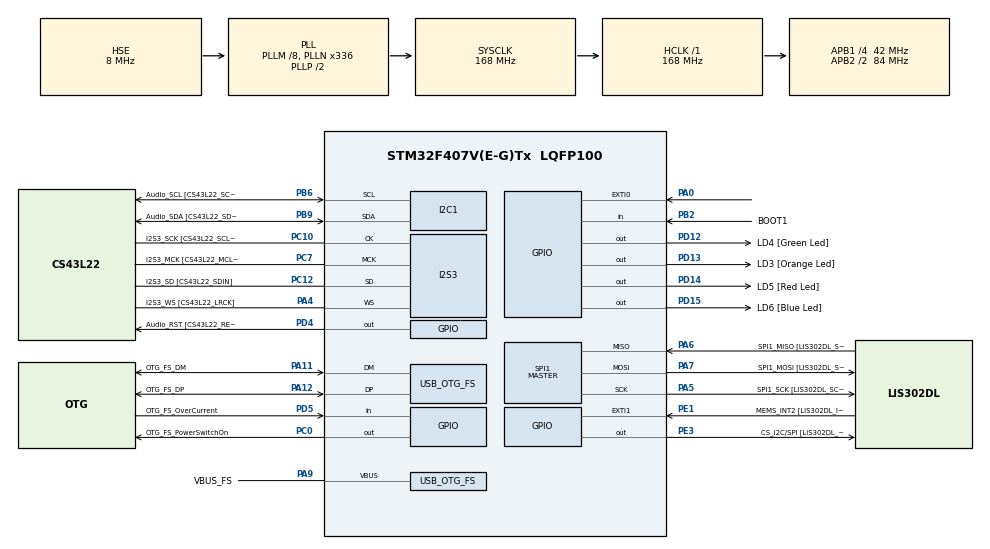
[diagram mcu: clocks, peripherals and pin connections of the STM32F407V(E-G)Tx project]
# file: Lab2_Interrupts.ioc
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I2S3.AudioFreq-Half_Duplex_Master=I2S_AUDIOFREQ_96K
I2S3.ErrorAudioFreq=-2.34 %
I2S3.ErrorAudioFreq-Half_Duplex_Master=0.8 %
I2S3.FullDuplexMode=I2S_FULLDUPLEXMODE_DISABLE
I2S3.Instance=SPI$Index
I2S3.RealAudioFreq=93.75 KHz
I2S3.RealAudioFreq-Half_Duplex_Master=96.774 KHz
I2S3.VirtualMode=I2S_MODE_MASTER
Mcu.Family=STM32F4
Mcu.Name=STM32F407V(E-G)Tx
Mcu.Package=LQFP100
NVIC.EXTI0_IRQn=true\:0\:0\:false\:false\:true\:true\:true\:true
NVIC.OTG_FS_IRQn=true\:0\:0\:false\:false\:true\:true\:true\:true
NVIC.PriorityGroup=NVIC_PRIORITYGROUP_0
PA0-WKUP.Signal=GPXTI0
PA10.GPIO_Label=OTG_FS_ID
PA10.GPIO_Mode=GPIO_MODE_AF_PP
PA10.GPIO_PuPd=GPIO_NOPULL
PA10.GPIO_Speed=GPIO_SPEED_FREQ_LOW
PA10.Signal=USB_OTG_FS_ID
PA11.GPIO_Label=OTG_FS_DM
PA11.GPIO_Mode=GPIO_MODE_AF_PP
PA11.GPIO_PuPd=GPIO_NOPULL
PA11.GPIO_Speed=GPIO_SPEED_FREQ_LOW
PA11.Mode=Host_Only
PA11.Signal=USB_OTG_FS_DM
PA12.GPIO_Label=OTG_FS_DP
PA12.GPIO_Mode=GPIO_MODE_AF_PP
PA12.GPIO_PuPd=GPIO_NOPULL
PA12.GPIO_Speed=GPIO_SPEED_FREQ_LOW
PA12.Mode=Host_Only
PA12.Signal=USB_OTG_FS_DP
PA13.GPIO_Label=SWDIO
PA13.Mode=Serial_Wire
PA13.Signal=SYS_JTMS-SWDIO
PA14.GPIO_Label=SWCLK
PA14.Mode=Serial_Wire
PA14.Signal=SYS_JTCK-SWCLK
PA4.GPIO_Label=I2S3_WS [CS43L22_LRCK]
PA4.GPIO_Mode=GPIO_MODE_AF_PP
PA4.GPIO_PuPd=GPIO_NOPULL
PA4.GPIO_Speed=GPIO_SPEED_FREQ_LOW
PA4.Mode=Half_Duplex_Master
PA4.Signal=I2S3_WS
PA5.GPIO_Label=SPI1_SCK [LIS302DL_SCL/SPC]
PA5.GPIO_Mode=GPIO_MODE_AF_PP
PA5.GPIO_PuPd=GPIO_NOPULL
PA5.GPIO_Speed=GPIO_SPEED_FREQ_LOW
PA5.Mode=Full_Duplex_Master
PA5.Signal=SPI1_SCK
PA6.GPIO_Label=SPI1_MISO [LIS302DL_SDO]
PA6.GPIO_Mode=GPIO_MODE_AF_PP
PA6.GPIO_PuPd=GPIO_NOPULL
PA6.GPIO_Speed=GPIO_SPEED_FREQ_LOW
PA6.Mode=Full_Duplex_Master
PA6.Signal=SPI1_MISO
PA7.GPIO_Label=SPI1_MOSI [LIS302DL_SDA/SDI/SDO]
PA7.GPIO_Mode=GPIO_MODE_AF_PP
PA7.GPIO_PuPd=GPIO_NOPULL
PA7.GPIO_Speed=GPIO_SPEED_FREQ_LOW
PA7.Mode=Full_Duplex_Master
PA7.Signal=SPI1_MOSI
PA9.GPIO_Label=VBUS_FS
PA9.GPIO_Mode=GPIO_MODE_INPUT
PA9.GPIO_PuPd=GPIO_NOPULL
PA9.Mode=Activate_VBUS
PA9.Signal=USB_OTG_FS_VBUS
PB10.GPIO_Label=CLK_IN [MP45DT02_CLK]
PB10.GPIO_Mode=GPIO_MODE_AF_PP
PB10.GPIO_PuPd=GPIO_NOPULL
PB10.GPIO_Speed=GPIO_SPEED_FREQ_LOW
PB10.Signal=I2S2_CK
PB2.GPIO_Label=BOOT1
PB2.GPIO_Mode=GPIO_MODE_INPUT
PB2.GPIO_PuPd=GPIO_NOPULL
PB2.Signal=GPIO_Input
PB3.GPIO_Label=SWO
PB3.Signal=SYS_JTDO-SWO
PB6.GPIO_Label=Audio_SCL [CS43L22_SCL]
PB6.GPIO_Mode=GPIO_MODE_AF_OD
PB6.GPIO_Pu=GPIO_PULLUP
PB6.GPIO_PuPd=GPIO_NOPULL
PB6.GPIO_Speed=GPIO_SPEED_FREQ_LOW
PB6.Mode=I2C
PB6.Signal=I2C1_SCL
PB9.GPIO_Label=Audio_SDA [CS43L22_SDA]
PB9.GPIO_Mode=GPIO_MODE_AF_OD
PB9.GPIO_Pu=GPIO_PULLUP
PB9.GPIO_PuPd=GPIO_NOPULL
PB9.GPIO_Speed=GPIO_SPEED_FREQ_LOW
PB9.Mode=I2C
PB9.Signal=I2C1_SDA
PC0.GPIO_Label=OTG_FS_PowerSwitchOn
PC0.GPIO_PuPd=GPIO_NOPULL
PC0.GPIO_Speed=GPIO_SPEED_FREQ_LOW
PC0.PinState=GPIO_PIN_SET
PC0.Signal=GPIO_Output
PC10.GPIO_Label=I2S3_SCK [CS43L22_SCLK]
PC10.GPIO_Mode=GPIO_MODE_AF_PP
PC10.GPIO_PuPd=GPIO_NOPULL
PC10.GPIO_Speed=GPIO_SPEED_FREQ_LOW
PC10.Mode=Half_Duplex_Master
PC10.Signal=I2S3_CK
PC12.GPIO_Label=I2S3_SD [CS43L22_SDIN]
PC12.GPIO_Mode=GPIO_MODE_AF_PP
PC12.GPIO_PuPd=GPIO_NOPULL
PC12.GPIO_Speed=GPIO_SPEED_FREQ_LOW
PC12.Mode=Half_Duplex_Master
PC12.Signal=I2S3_SD
PC14-OSC32_IN.GPIO_Label=PC14-OSC32_IN
PC14-OSC32_IN.Mode=LSE-External-Oscillator
PC14-OSC32_IN.Signal=RCC_OSC32_IN
PC15-OSC32_OUT.GPIO_Label=PC15-OSC32_OUT
PC15-OSC32_OUT.Mode=LSE-External-Oscillator
PC15-OSC32_OUT.Signal=RCC_OSC32_OUT
PC3.GPIO_Label=PDM_OUT [MP45DT02_DOUT]
PC3.GPIO_Mode=GPIO_MODE_AF_PP
PC3.GPIO_PuPd=GPIO_NOPULL
PC3.GPIO_Speed=GPIO_SPEED_FREQ_LOW
PC3.Signal=I2S2_SD
PC7.GPIO_Label=I2S3_MCK [CS43L22_MCLK]
PC7.GPIO_Mode=GPIO_MODE_AF_PP
PC7.GPIO_PuPd=GPIO_NOPULL
PC7.GPIO_Speed=GPIO_SPEED_FREQ_LOW
PC7.Mode=Master_Clock_Activated
PC7.Signal=I2S3_MCK
PD12.GPIO_Label=LD4 [Green Led]
PD12.GPIO_PuPd=GPIO_NOPULL
PD12.GPIO_Speed=GPIO_SPEED_FREQ_LOW
PD12.Signal=GPIO_Output
PD13.GPIO_Label=LD3 [Orange Led]
PD13.GPIO_PuPd=GPIO_NOPULL
PD13.GPIO_Speed=GPIO_SPEED_FREQ_LOW
PD13.Signal=GPIO_Output
PD14.GPIO_Label=LD5 [Red Led]
PD14.GPIO_PuPd=GPIO_NOPULL
PD14.GPIO_Speed=GPIO_SPEED_FREQ_LOW
PD14.Signal=GPIO_Output
PD15.GPIO_Label=LD6 [Blue Led]
PD15.GPIO_PuPd=GPIO_NOPULL
PD15.GPIO_Speed=GPIO_SPEED_FREQ_LOW
PD15.Signal=GPIO_Output
PD4.GPIO_Label=Audio_RST [CS43L22_RESET]
PD4.GPIO_PuPd=GPIO_NOPULL
PD4.GPIO_Speed=GPIO_SPEED_FREQ_LOW
PD4.Signal=GPIO_Output
PD5.GPIO_Label=OTG_FS_OverCurrent
PD5.GPIO_Mode=GPIO_MODE_INPUT
PD5.GPIO_PuPd=GPIO_NOPULL
PD5.Signal=GPIO_Input
PE1.GPIO_Label=MEMS_INT2 [LIS302DL_INT2]
PE1.GPIO_ModeDefaultEXTI=GPIO_MODE_EVT_RISING
PE1.GPIO_PuPd=GPIO_NOPULL
PE1.Signal=GPXTI1
PE3.GPIO_Label=CS_I2C/SPI [LIS302DL_CS_I2C/SPI]
PE3.GPIO_PuPd=GPIO_NOPULL
PE3.GPIO_Speed=GPIO_SPEED_FREQ_LOW
PE3.Signal=GPIO_Output
PH0-OSC_IN.GPIO_Label=PH0-OSC_IN
PH0-OSC_IN.Mode=HSE-External-Oscillator
PH0-OSC_IN.Signal=RCC_OSC_IN
PH1-OSC_OUT.GPIO_Label=PH1-OSC_OUT
PH1-OSC_OUT.Mode=HSE-External-Oscillator
PH1-OSC_OUT.Signal=RCC_OSC_OUT
ProjectManager.HeapSize=0x200
ProjectManager.StackSize=0x400
ProjectManager.TargetToolchain=STM32CubeIDE
RCC.48MHZClocksFreq_Value=48000000
RCC.AHBFreq_Value=168000000
RCC.APB1CLKDivider=RCC_HCLK_DIV4
RCC.APB1Freq_Value=42000000
RCC.APB1TimFreq_Value=84000000
RCC.APB2CLKDivider=RCC_HCLK_DIV2
RCC.APB2Freq_Value=84000000
RCC.APB2TimFreq_Value=168000000
RCC.CortexFreq_Value=168000000
RCC.HCLKFreq_Value=168000000
RCC.HSE_VALUE=8000000
RCC.HSI_VALUE=16000000
RCC.PLLM=8
RCC.PLLN=336
RCC.PLLQ=7
RCC.SYSCLKFreq_VALUE=168000000
RCC.SYSCLKSource=RCC_SYSCLKSOURCE_PLLCLK
RCC.VCOOutputFreq_Value=336000000
SPI1.BaudRatePrescaler-Full_Duplex_Master=SPI_BAUDRATEPRESCALER_2
SPI1.CalculateBaudRate-Full_Duplex_Master=42.0 MBits/s
SPI1.Direction=SPI_DIRECTION_2LINES
SPI1.Mode=SPI_MODE_MASTER
SPI1.Mode-Full_Duplex_Master=SPI_MODE_MASTER
SPI1.VirtualType=VM_MASTER
USB_HOST.BSP.number=1
USB_HOST.USBH_HandleTypeDef-CDC_FS=hUsbHostFS
USB_HOST.VirtualModeFS=Cdc
USB_HOST0.BSP.STBoard=false
USB_HOST0.BSP.api=Unknown
USB_HOST0.BSP.instance=PC0
USB_HOST0.BSP.ip=GPIO
USB_HOST0.BSP.mode=Output
USB_HOST0.BSP.name=Drive_VBUS_FS
USB_HOST0.BSP.solution=PC0
USB_OTG_FS.VirtualMode=Host_Only
USB_OTG_FS.phy_itface=HCD_PHY_EMBEDDED
VP_USB_HOST_VS_USB_HOST_CDC_FS.Mode=CDC_FS
board=STM32F407G-DISC1

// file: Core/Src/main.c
/* USER CODE BEGIN Header */
/**
  ******************************************************************************
  * @file           : main.c
  * @brief          : Main program body
  ******************************************************************************
  * @attention
  *
  * Copyright (c) 2025 STMicroelectronics.
  * All rights reserved.
  *
  * This software is licensed under terms that can be found in the LICENSE file
  * in the root directory of this software component.
  * If no LICENSE file comes with this software, it is provided AS-IS.
  *
  ******************************************************************************
  */
/* USER CODE END Header */
#include "main.h"
#include "usb_host.h"

/* USER CODE BEGIN PD */
#define LED_GREEN GPIO_PIN_12
#define LED_ORANGE GPIO_PIN_13
#define LED_RED GPIO_PIN_14
#define LED_BLUE GPIO_PIN_15

/* USER CODE END PD */

I2C_HandleTypeDef hi2c1;

I2S_HandleTypeDef hi2s3;

SPI_HandleTypeDef hspi1;

void SystemClock_Config(void);
static void MX_GPIO_Init(void);
static void MX_I2C1_Init(void);
static void MX_I2S3_Init(void);
static void MX_SPI1_Init(void);
void MX_USB_HOST_Process(void);

/* USER CODE BEGIN 0 */
uint8_t counter = 0;
/* USER CODE END 0 */

int main(void)
{

  /* MCU Configuration--------------------------------------------------------*/

  /* Reset of all peripherals, Initializes the Flash interface and the Systick. */
  HAL_Init();

  /* Configure the system clock */
  SystemClock_Config();

  /* Initialize all configured peripherals */
  MX_GPIO_Init();
  MX_I2C1_Init();
  MX_I2S3_Init();
  MX_SPI1_Init();
  MX_USB_HOST_Init();

  /* Infinite loop */
  while (1)
  {
    MX_USB_HOST_Process();

    /* USER CODE BEGIN 3 */
    switch(counter){
		case 0:
		{
			Effect_1();
			break;
		}

		case 1:
		{
			Effect_2();
			break;
		}

		case 2:
		{
			Effect_3();
			break;
		}

		case 3:
		{
			Effect_4();
			break;
		}

		default:
			break;

    }

  }
  /* USER CODE END 3 */
}

void SystemClock_Config(void)
{
  RCC_OscInitTypeDef RCC_OscInitStruct = {0};
  RCC_ClkInitTypeDef RCC_ClkInitStruct = {0};

  /** Configure the main internal regulator output voltage
  */
  __HAL_RCC_PWR_CLK_ENABLE();
  __HAL_PWR_VOLTAGESCALING_CONFIG(PWR_REGULATOR_VOLTAGE_SCALE1);

  /** Initializes the RCC Oscillators according to the specified parameters
  * in the RCC_OscInitTypeDef structure.
  */
  RCC_OscInitStruct.OscillatorType = RCC_OSCILLATORTYPE_HSE;
  RCC_OscInitStruct.HSEState = RCC_HSE_ON;
  RCC_OscInitStruct.PLL.PLLState = RCC_PLL_ON;
  RCC_OscInitStruct.PLL.PLLSource = RCC_PLLSOURCE_HSE;
  RCC_OscInitStruct.PLL.PLLM = 8;
  RCC_OscInitStruct.PLL.PLLN = 336;
  RCC_OscInitStruct.PLL.PLLP = RCC_PLLP_DIV2;
  RCC_OscInitStruct.PLL.PLLQ = 7;
  if (HAL_RCC_OscConfig(&RCC_OscInitStruct) != HAL_OK)
  {
    Error_Handler();
  }

  /** Initializes the CPU, AHB and APB buses clocks
  */
  RCC_ClkInitStruct.ClockType = RCC_CLOCKTYPE_HCLK|RCC_CLOCKTYPE_SYSCLK
                              |RCC_CLOCKTYPE_PCLK1|RCC_CLOCKTYPE_PCLK2;
  RCC_ClkInitStruct.SYSCLKSource = RCC_SYSCLKSOURCE_PLLCLK;
  RCC_ClkInitStruct.AHBCLKDivider = RCC_SYSCLK_DIV1;
  RCC_ClkInitStruct.APB1CLKDivider = RCC_HCLK_DIV4;
  RCC_ClkInitStruct.APB2CLKDivider = RCC_HCLK_DIV2;

  if (HAL_RCC_ClockConfig(&RCC_ClkInitStruct, FLASH_LATENCY_5) != HAL_OK)
  {
    Error_Handler();
  }
}

static void MX_I2C1_Init(void)
{

  hi2c1.Instance = I2C1;
  hi2c1.Init.ClockSpeed = 100000;
  hi2c1.Init.DutyCycle = I2C_DUTYCYCLE_2;
  hi2c1.Init.OwnAddress1 = 0;
  hi2c1.Init.AddressingMode = I2C_ADDRESSINGMODE_7BIT;
  hi2c1.Init.DualAddressMode = I2C_DUALADDRESS_DISABLE;
  hi2c1.Init.OwnAddress2 = 0;
  hi2c1.Init.GeneralCallMode = I2C_GENERALCALL_DISABLE;
  hi2c1.Init.NoStretchMode = I2C_NOSTRETCH_DISABLE;
  if (HAL_I2C_Init(&hi2c1) != HAL_OK)
  {
    Error_Handler();
  }

}

static void MX_I2S3_Init(void)
{

  hi2s3.Instance = SPI3;
  hi2s3.Init.Mode = I2S_MODE_MASTER_TX;
  hi2s3.Init.Standard = I2S_STANDARD_PHILIPS;
  hi2s3.Init.DataFormat = I2S_DATAFORMAT_16B;
  hi2s3.Init.MCLKOutput = I2S_MCLKOUTPUT_ENABLE;
  hi2s3.Init.AudioFreq = I2S_AUDIOFREQ_96K;
  hi2s3.Init.CPOL = I2S_CPOL_LOW;
  hi2s3.Init.ClockSource = I2S_CLOCK_PLL;
  hi2s3.Init.FullDuplexMode = I2S_FULLDUPLEXMODE_DISABLE;
  if (HAL_I2S_Init(&hi2s3) != HAL_OK)
  {
    Error_Handler();
  }

}

static void MX_SPI1_Init(void)
{

  /* SPI1 parameter configuration*/
  hspi1.Instance = SPI1;
  hspi1.Init.Mode = SPI_MODE_MASTER;
  hspi1.Init.Direction = SPI_DIRECTION_2LINES;
  hspi1.Init.DataSize = SPI_DATASIZE_8BIT;
  hspi1.Init.CLKPolarity = SPI_POLARITY_LOW;
  hspi1.Init.CLKPhase = SPI_PHASE_1EDGE;
  hspi1.Init.NSS = SPI_NSS_SOFT;
  hspi1.Init.BaudRatePrescaler = SPI_BAUDRATEPRESCALER_2;
  hspi1.Init.FirstBit = SPI_FIRSTBIT_MSB;
  hspi1.Init.TIMode = SPI_TIMODE_DISABLE;
  hspi1.Init.CRCCalculation = SPI_CRCCALCULATION_DISABLE;
  hspi1.Init.CRCPolynomial = 10;
  if (HAL_SPI_Init(&hspi1) != HAL_OK)
  {
    Error_Handler();
  }

}

static void MX_GPIO_Init(void)
{
  GPIO_InitTypeDef GPIO_InitStruct = {0};

  /* GPIO Ports Clock Enable */
  __HAL_RCC_GPIOE_CLK_ENABLE();
  __HAL_RCC_GPIOC_CLK_ENABLE();
  __HAL_RCC_GPIOH_CLK_ENABLE();
  __HAL_RCC_GPIOA_CLK_ENABLE();
  __HAL_RCC_GPIOB_CLK_ENABLE();
  __HAL_RCC_GPIOD_CLK_ENABLE();

  /*Configure GPIO pin Output Level */
  HAL_GPIO_WritePin(CS_I2C_SPI_GPIO_Port, CS_I2C_SPI_Pin, GPIO_PIN_RESET);

  /*Configure GPIO pin Output Level */
  HAL_GPIO_WritePin(OTG_FS_PowerSwitchOn_GPIO_Port, OTG_FS_PowerSwitchOn_Pin, GPIO_PIN_SET);

  /*Configure GPIO pin Output Level */
  HAL_GPIO_WritePin(GPIOD, LD4_Pin|LD3_Pin|LD5_Pin|LD6_Pin
                          |Audio_RST_Pin, GPIO_PIN_RESET);

  /*Configure GPIO pin : CS_I2C_SPI_Pin */
  GPIO_InitStruct.Pin = CS_I2C_SPI_Pin;
  GPIO_InitStruct.Mode = GPIO_MODE_OUTPUT_PP;
  GPIO_InitStruct.Pull = GPIO_NOPULL;
  GPIO_InitStruct.Speed = GPIO_SPEED_FREQ_LOW;
  HAL_GPIO_Init(CS_I2C_SPI_GPIO_Port, &GPIO_InitStruct);

  /*Configure GPIO pin : OTG_FS_PowerSwitchOn_Pin */
  GPIO_InitStruct.Pin = OTG_FS_PowerSwitchOn_Pin;
  GPIO_InitStruct.Mode = GPIO_MODE_OUTPUT_PP;
  GPIO_InitStruct.Pull = GPIO_NOPULL;
  GPIO_InitStruct.Speed = GPIO_SPEED_FREQ_LOW;
  HAL_GPIO_Init(OTG_FS_PowerSwitchOn_GPIO_Port, &GPIO_InitStruct);

  /*Configure GPIO pin : PDM_OUT_Pin */
  GPIO_InitStruct.Pin = PDM_OUT_Pin;
  GPIO_InitStruct.Mode = GPIO_MODE_AF_PP;
  GPIO_InitStruct.Pull = GPIO_NOPULL;
  GPIO_InitStruct.Speed = GPIO_SPEED_FREQ_LOW;
  GPIO_InitStruct.Alternate = GPIO_AF5_SPI2;
  HAL_GPIO_Init(PDM_OUT_GPIO_Port, &GPIO_InitStruct);

  /*Configure GPIO pin : PA0 */
  GPIO_InitStruct.Pin = GPIO_PIN_0;
  GPIO_InitStruct.Mode = GPIO_MODE_IT_RISING;
  GPIO_InitStruct.Pull = GPIO_NOPULL;
  HAL_GPIO_Init(GPIOA, &GPIO_InitStruct);

  /*Configure GPIO pin : BOOT1_Pin */
  GPIO_InitStruct.Pin = BOOT1_Pin;
  GPIO_InitStruct.Mode = GPIO_MODE_INPUT;
  GPIO_InitStruct.Pull = GPIO_NOPULL;
  HAL_GPIO_Init(BOOT1_GPIO_Port, &GPIO_InitStruct);

  /*Configure GPIO pin : CLK_IN_Pin */
  GPIO_InitStruct.Pin = CLK_IN_Pin;
  GPIO_InitStruct.Mode = GPIO_MODE_AF_PP;
  GPIO_InitStruct.Pull = GPIO_NOPULL;
  GPIO_InitStruct.Speed = GPIO_SPEED_FREQ_LOW;
  GPIO_InitStruct.Alternate = GPIO_AF5_SPI2;
  HAL_GPIO_Init(CLK_IN_GPIO_Port, &GPIO_InitStruct);

  /*Configure GPIO pins : LD4_Pin LD3_Pin LD5_Pin LD6_Pin
                           Audio_RST_Pin */
  GPIO_InitStruct.Pin = LD4_Pin|LD3_Pin|LD5_Pin|LD6_Pin
                          |Audio_RST_Pin;
  GPIO_InitStruct.Mode = GPIO_MODE_OUTPUT_PP;
  GPIO_InitStruct.Pull = GPIO_NOPULL;
  GPIO_InitStruct.Speed = GPIO_SPEED_FREQ_LOW;
  HAL_GPIO_Init(GPIOD, &GPIO_InitStruct);

  /*Configure GPIO pin : OTG_FS_OverCurrent_Pin */
  GPIO_InitStruct.Pin = OTG_FS_OverCurrent_Pin;
  GPIO_InitStruct.Mode = GPIO_MODE_INPUT;
  GPIO_InitStruct.Pull = GPIO_NOPULL;
  HAL_GPIO_Init(OTG_FS_OverCurrent_GPIO_Port, &GPIO_InitStruct);

  /*Configure GPIO pin : MEMS_INT2_Pin */
  GPIO_InitStruct.Pin = MEMS_INT2_Pin;
  GPIO_InitStruct.Mode = GPIO_MODE_EVT_RISING;
  GPIO_InitStruct.Pull = GPIO_NOPULL;
  HAL_GPIO_Init(MEMS_INT2_GPIO_Port, &GPIO_InitStruct);

  /* EXTI interrupt init*/
  HAL_NVIC_SetPriority(EXTI0_IRQn, 0, 0);
  HAL_NVIC_EnableIRQ(EXTI0_IRQn);

}

/* USER CODE BEGIN 4 */

// ПРИМІТКА: Вирішив реалізувати логіку ISR саме в main, а не файлі stm32f4xx_it.c або stm32f4xx_hal_gpio.c, бо
//           вважаю це кращим рішенням, саме так проєкт побудував CubeIDE, і саме таким чином я організовую ISR у
//           своїх власних проєктах
void HAL_GPIO_EXTI_Callback(uint16_t GPIO_Pin)
{
    if(GPIO_Pin == GPIO_PIN_0)
    {
        counter++;

        if(counter > 3){
        	counter = 0;
        }
    }
}

void Effect_1(void)
{
    HAL_GPIO_WritePin(GPIOD, LED_GREEN, GPIO_PIN_SET);
    HAL_Delay(200);
    HAL_GPIO_WritePin(GPIOD, LED_GREEN, GPIO_PIN_RESET);

    HAL_GPIO_WritePin(GPIOD, LED_ORANGE, GPIO_PIN_SET);
    HAL_Delay(200);
    HAL_GPIO_WritePin(GPIOD, LED_ORANGE, GPIO_PIN_RESET);

    HAL_GPIO_WritePin(GPIOD, LED_RED, GPIO_PIN_SET);
    HAL_Delay(200);
    HAL_GPIO_WritePin(GPIOD, LED_RED, GPIO_PIN_RESET);

    HAL_GPIO_WritePin(GPIOD, LED_BLUE, GPIO_PIN_SET);
    HAL_Delay(200);
    HAL_GPIO_WritePin(GPIOD, LED_BLUE, GPIO_PIN_RESET);
}

void Effect_2(void)
{
    HAL_GPIO_WritePin(GPIOD, LED_GREEN | LED_ORANGE | LED_RED | LED_BLUE, GPIO_PIN_SET);
    HAL_Delay(300);
    HAL_GPIO_WritePin(GPIOD, LED_GREEN | LED_ORANGE | LED_RED | LED_BLUE, GPIO_PIN_RESET);
    HAL_Delay(300);
}

void Effect_3(void)
{
    uint16_t leds[] = {LED_GREEN, LED_ORANGE, LED_RED, LED_BLUE};
    for(int i = 0; i < 4; i++)
    {
        HAL_GPIO_WritePin(GPIOD, leds[i], GPIO_PIN_SET);
        HAL_Delay(150);
        HAL_GPIO_WritePin(GPIOD, leds[i], GPIO_PIN_RESET);
    }

    for(int i = 2; i >= 0; i--)
    {
        HAL_GPIO_WritePin(GPIOD, leds[i], GPIO_PIN_SET);
        HAL_Delay(150);
        HAL_GPIO_WritePin(GPIOD, leds[i], GPIO_PIN_RESET);
    }
}

void Effect_4(void)
{

    HAL_GPIO_WritePin(GPIOD, LED_GREEN | LED_RED, GPIO_PIN_SET);
    HAL_GPIO_WritePin(GPIOD, LED_ORANGE | LED_BLUE, GPIO_PIN_RESET);
        HAL_Delay(300);

    HAL_GPIO_WritePin(GPIOD, LED_GREEN | LED_RED, GPIO_PIN_RESET);
    HAL_GPIO_WritePin(GPIOD, LED_ORANGE | LED_BLUE, GPIO_PIN_SET);
    HAL_Delay(300);

}

/* USER CODE END 4 */

void Error_Handler(void)
{
  __disable_irq();
  while (1)
  {
  }
}
